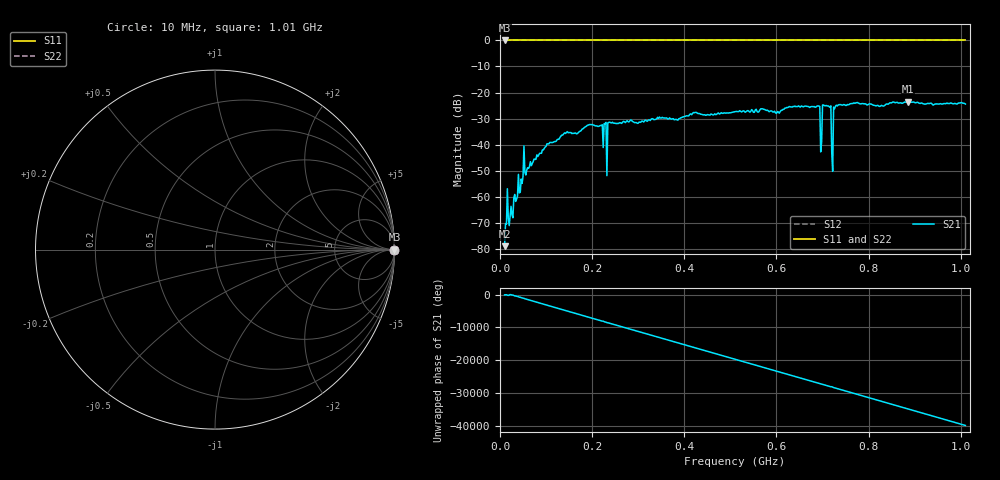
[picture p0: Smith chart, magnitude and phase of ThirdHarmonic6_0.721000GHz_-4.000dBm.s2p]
! 8/16/2025 12:06:07 AM
! C:\ANRITSUVNA\TEMP\TEMP.S2P
! CHANNEL.1
! TR.MEASUREMENT
! RAW.DATA
! RF.CORRECTION.OFF
! AVERAGING.OFF
! IF.BANDWIDTH: 5KHZ
! SWEEPTYPE:  FREQ.SWEEP(Linear)
! Reference Plane Port Info
! PORT:  PORT1  PORT2
! DISTANCE:  0  m  0  m
! TIME:  0  s  0  s
! PHASE.OFFSET:  0  deg.  0  deg.
! LOSS:  0  dB  0  dB
! REF.LOSS:  0  dB  0  dB
! REF.FREQ:  0  Hz  0  Hz
! Power Info
! POWER:  -20  dBm  -20  dBm
! EFF.POWER:  -20  dBm  -20  dBm
! SOURCE.ATTEN:  0  dB  0  dB
! TEST.ATTEN:  0  dB  0  dB
# GHZ S RI R 50.0
! FREQ.GHZ  S11RE  S11IM  S21RE  S21IM  S12RE  S12IM  S22RE  S22IM
!; PortSelection: Port_12
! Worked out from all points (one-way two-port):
!   501 points, 10 MHz to 1.01 GHz, reference 50 ohm
!   highest |S21| = -23.51 dB at 886 MHz (marker M1); lowest = -79.0 dB at 10 MHz (marker M2)
!   lowest |S11| = 0.0 dB at 10 MHz (marker M3)
!   |S11| at or under -10 dB: nowhere
!   |S22| runs from 0.0 to 0.0 dB; largest |S21 - S12| = 1.1
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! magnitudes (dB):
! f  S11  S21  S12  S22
! 10 MHz  0.0  -79.0  0.0  0.0
! 16 MHz  0.0  -57.0  0.0  0.0
! 24 MHz  0.0  -63.7  0.0  0.0
! 56 MHz  0.0  -51.7  0.0  0.0
! 178 MHz  0.0  -34.1  0.0  0.0
! 218 MHz  0.0  -32.7  0.0  0.0
! 228 MHz  0.0  -32.0  0.0  0.0
! 238 MHz  0.0  -31.4  0.0  0.0
! 344 MHz  0.0  -30.0  0.0  0.0
! 510 MHz  0.0  -27.4  0.0  0.0
! 678 MHz  0.0  -25.4  0.0  0.0
! 690 MHz  0.0  -25.2  0.0  0.0
! 694 MHz  0.0  -25.4  0.0  0.0
! 704 MHz  0.0  -25.0  0.0  0.0
! 714 MHz  0.0  -25.4  0.0  0.0
! 718 MHz  0.0  -25.1  0.0  0.0
! 724 MHz  0.0  -25.6  0.0  0.0
! 728 MHz  0.0  -25.3  0.0  0.0
! 732 MHz  0.0  -25.2  0.0  0.0
! 844 MHz  0.0  -24.3  0.0  0.0
! 886 MHz  0.0  -23.5  0.0  0.0
! 1.01 GHz  0.0  -24.4  0.0  0.0
